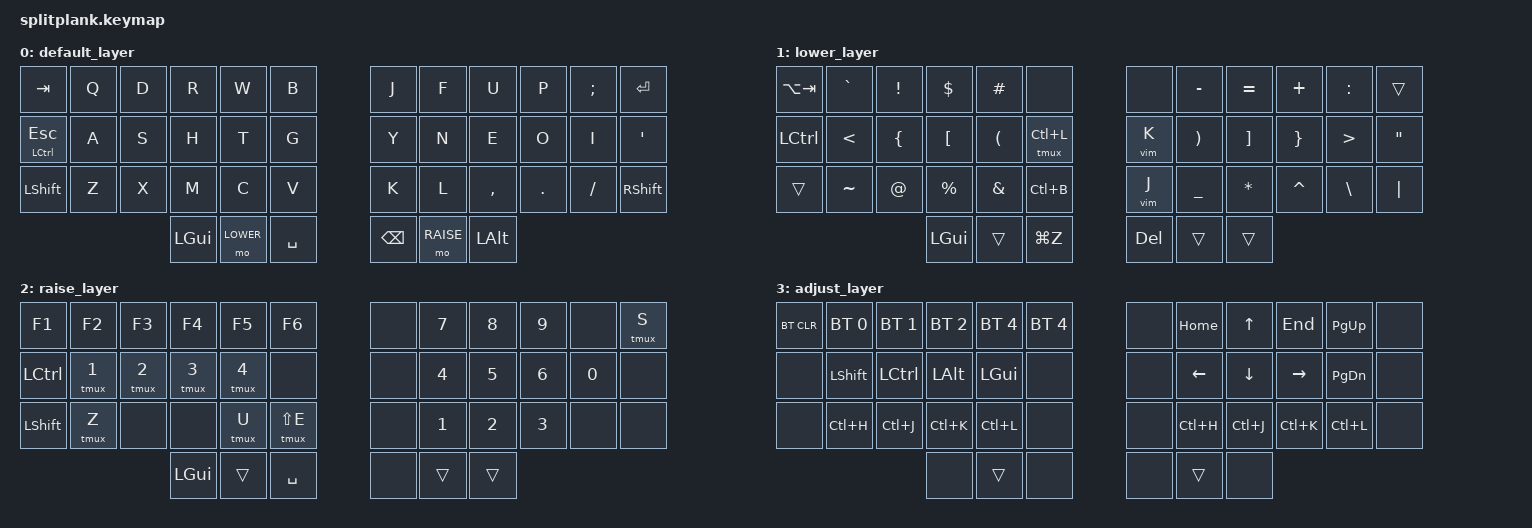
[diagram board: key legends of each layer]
#include <behaviors.dtsi>
#include <dt-bindings/zmk/keys.h>
#include <dt-bindings/zmk/bt.h>

#define BASE 0
#define LOWER 1
#define RAISE 2
#define ADJUST 3

/ {
        conditional_layers {
            compatible = "zmk,conditional-layers";
            adjust_layer {
                if-layers = <LOWER RAISE>;
                then-layer = <ADJUST>;
            };
        };
        
        macros {
            tmux: tmux {
                compatible = "zmk,behavior-macro-one-param";
                #binding-cells = <1>;
                bindings 
                    = <&macro_tap &kp LC(B)>
                    , <&macro_param_1to1>
                    , <&kp MACRO_PLACEHOLDER>
                    ;
            };
            vim: vim {
                compatible = "zmk,behavior-macro-one-param";
                #binding-cells = <1>;
                bindings 
                    = <&macro_tap &kp SPACE>
                    , <&macro_param_1to1>
                    , <&kp MACRO_PLACEHOLDER>
                    ;
            };
        };

        keymap {
                compatible = "zmk,keymap";

                default_layer {
                        bindings = <
   &kp TAB       &kp Q &kp D &kp R    &kp W     &kp B       &kp J    &kp F     &kp U     &kp P   &kp SEMI &kp RET
   &mt LCTRL ESC &kp A &kp S &kp H    &kp T     &kp G       &kp Y    &kp N     &kp E     &kp O   &kp I    &kp SQT
   &kp LSHFT     &kp Z &kp X &kp M    &kp C     &kp V       &kp K    &kp L     &kp COMMA &kp DOT &kp FSLH &kp RSHFT
                             &kp LGUI &mo LOWER &kp SPACE   &kp BSPC &mo RAISE &kp LALT
                        >;
                };
                lower_layer {
                        bindings = <
   &kp LA(TAB) &kp GRAVE &kp EXCL &kp DLLR  &kp HASH &none        &none   &kp MINUS &kp EQUAL &kp PLUS  &kp COLON &trans
   &kp LCTL    &kp LT    &kp LBRC &kp LBKT  &kp LPAR &tmux LC(L)  &vim K  &kp RPAR  &kp RBKT  &kp RBRC  &kp GT    &kp DQT
   &trans      &kp TILDE &kp AT   &kp PRCNT &kp AMPS &kp LC(B)    &vim J  &kp UNDER &kp STAR  &kp CARET &kp BSLH  &kp PIPE
                         &kp LGUI &trans    &kp LG(Z)             &kp DEL &trans &trans
                        >;
                };

                raise_layer {
                        bindings = <
   &kp F1    &kp F2   &kp F3   &kp F4   &kp F5   &kp F6       &none &kp N7 &kp N8 &kp N9 &none  &tmux S
   &kp LCTRL &tmux N1 &tmux N2 &tmux N3 &tmux N4 &none        &none &kp N4 &kp N5 &kp N6 &kp N0 &none
   &kp LSHFT &tmux Z  &none    &none    &tmux U  &tmux LS(E)  &none &kp N1 &kp N2 &kp N3 &none  &none
                               &kp LGUI &trans   &kp SPACE    &none &trans &trans 
                        >;
                };

                adjust_layer {
                        bindings = <
   &bt BT_CLR &bt BT_SEL 0 &bt BT_SEL 1 &bt BT_SEL 2 &bt BT_SEL 4 &bt BT_SEL 4   &none   &kp HOME  &kp UP    &kp END   &kp PG_UP &none 
   &none      &kp LSHFT    &kp LCTRL    &kp LALT     &kp LGUI     &none          &none   &kp LEFT  &kp DOWN  &kp RIGHT &kp PG_DN &none 
   &none      &kp LC(H)    &kp LC(J)    &kp LC(K)    &kp LC(L)    &none          &none   &kp LC(H) &kp LC(J) &kp LC(K) &kp LC(L) &none 
                                        &none        &trans       &none          &none   &trans    &none
                        >;
                };
        };
};
